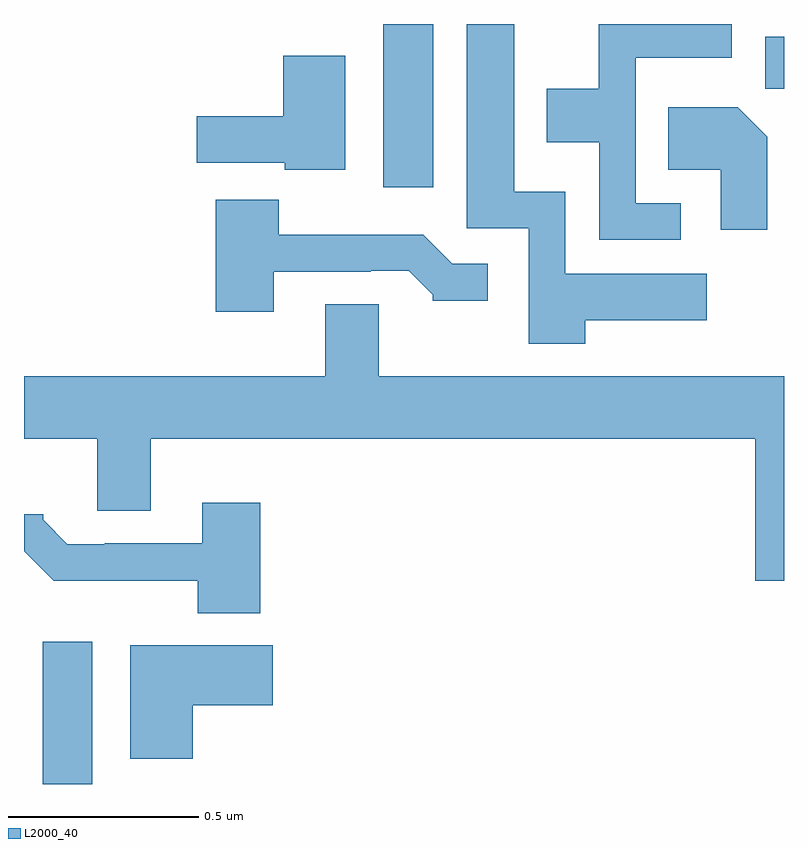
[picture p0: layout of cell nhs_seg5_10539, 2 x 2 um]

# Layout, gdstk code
import gdstk
lib = gdstk.Library(unit=1e-6, precision=1e-09)
def R(c, l, rs):  # rectangles x0, y0, x1, y1
    for r in rs: c.add(gdstk.rectangle(r[:2], r[2:], *l))
def P(c, l, *ps):  # polygons
    for p in ps: c.add(gdstk.Polygon(p, *l))
L2000_40 = (2000, 40)

nhs_seg5_10539 = lib.new_cell('nhs_seg5_10539')
R(nhs_seg5_10539, L2000_40, [(247.049,907.799,247.18,908.173), (247.946,909.369,248.077,909.799), (248.951,909.628,249,909.766)])
P(nhs_seg5_10539, L2000_40, [(248.477,909.02),(248.797,909.02),(248.797,909.142),(248.424,909.142),(248.424,909.358),(248.29,909.358),(248.29,909.799),(248.165,909.799),(248.165,909.261),(248.328,909.261),(248.328,908.958),(248.477,908.958)],
  [(248.728,909.327),(248.61,909.327),(248.61,909.71),(248.863,909.71),(248.863,909.799),(248.512,909.799),(248.512,909.628),(248.375,909.628),(248.375,909.488),(248.514,909.488),(248.514,909.231),(248.728,909.231)],
  [(247.846,909.715),(247.682,909.715),(247.682,909.556),(247.455,909.556),(247.455,909.434),(247.686,909.434),(247.686,909.416),(247.846,909.416)],
  [(248.956,909.502),(248.878,909.58),(248.695,909.58),(248.695,909.416),(248.834,909.416),(248.834,909.258),(248.956,909.258)],
  [(247.657,909.147),(247.913,909.147),(247.913,909.15),(248.012,909.15),(248.076,909.086),(248.076,909.071),(248.221,909.071),(248.221,909.168),(248.127,909.168),(248.051,909.244),(247.67,909.244),(247.67,909.337),(247.505,909.337),(247.505,909.042),(247.657,909.042)],
  [(249,908.872),(247.933,908.872),(247.933,909.062),(247.793,909.062),(247.793,908.872),(247,908.872),(247,908.708),(247.193,908.708),(247.193,908.518),(247.333,908.518),(247.333,908.708),(248.924,908.708),(248.924,908.334),(249,908.334)],
  [(247.622,908.539),(247.469,908.539),(247.469,908.433),(247.213,908.433),(247.213,908.43),(247.114,908.43),(247.05,908.494),(247.05,908.509),(247,908.509),(247,908.411),(247.078,908.334),(247.457,908.334),(247.457,908.249),(247.622,908.249)],
  [(247.444,908.006),(247.654,908.006),(247.654,908.164),(247.28,908.164),(247.28,907.866),(247.444,907.866)])

lib.write_gds('nhs_seg5_10539.gds')
